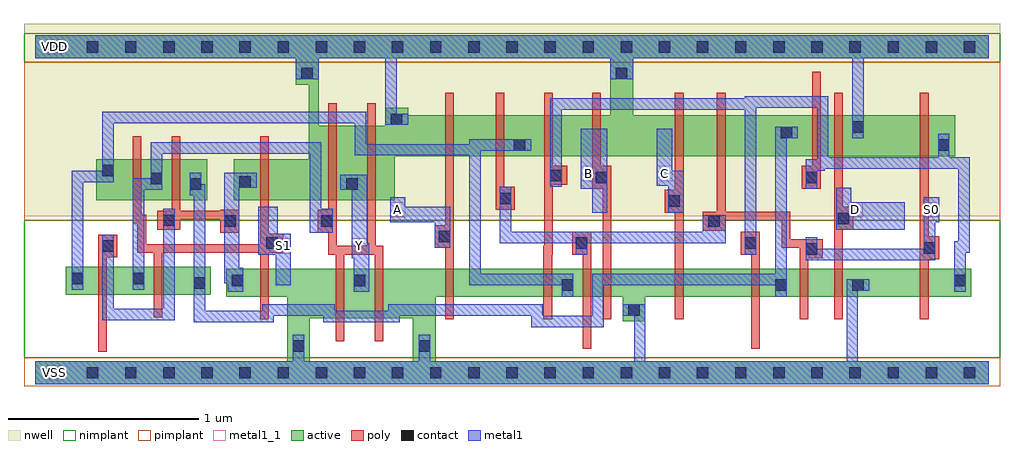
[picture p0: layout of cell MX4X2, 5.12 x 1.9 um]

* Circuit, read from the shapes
.subckt MX4X2 A B C D S0 S1 VDD VSS Y
M1 n1 n2 n3 VSS nfet w=0.145u l=0.045u
M2 n4 S1 n1 VSS nfet w=0.145u l=0.045u
M3 VSS S1 n2 VSS nfet w=0.145u l=0.045u
M4 Y n1 VSS VSS nfet w=0.26u l=0.045u m=2
M5 n5 A VSS VSS nfet w=0.145u l=0.045u
M6 n3 n6 n5 VSS nfet w=0.145u l=0.045u
M7 n7 S0 n3 VSS nfet w=0.145u l=0.045u
M8 VSS B n7 VSS nfet w=0.145u l=0.045u
M9 n8 C VSS VSS nfet w=0.145u l=0.045u
M10 n4 n6 n8 VSS nfet w=0.145u l=0.045u
M11 n9 S0 n4 VSS nfet w=0.145u l=0.045u
M12 VSS D n9 VSS nfet w=0.145u l=0.045u
M13 n6 S0 VSS VSS nfet w=0.145u l=0.045u
M14 n1 S1 n3 VDD pfet w=0.215u l=0.045u
M15 n4 n2 n1 VDD pfet w=0.215u l=0.045u
M16 VDD S1 n2 VDD pfet w=0.215u l=0.045u
M17 Y n1 VDD VDD pfet w=0.39u l=0.045u m=2
M18 n10 A VDD VDD pfet w=0.215u l=0.045u
M19 n3 S0 n10 VDD pfet w=0.215u l=0.045u
M20 n11 n6 n3 VDD pfet w=0.215u l=0.045u
M21 VDD B n11 VDD pfet w=0.215u l=0.045u
M22 n12 C VDD VDD pfet w=0.215u l=0.045u
M23 n4 S0 n12 VDD pfet w=0.215u l=0.045u
M24 n13 n6 n4 VDD pfet w=0.215u l=0.045u
M25 VDD D n13 VDD pfet w=0.215u l=0.045u
M26 n6 S0 VDD VDD pfet w=0.215u l=0.045u
.ends

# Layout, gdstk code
import gdstk
lib = gdstk.Library(unit=1e-6, precision=5e-10)
def R(c, l, rs):  # rectangles x0, y0, x1, y1
    for r in rs: c.add(gdstk.rectangle(r[:2], r[2:], *l))
def A(c, l, x, y, w, h, nx, ny, dx, dy):  # array of equal rectangles
    R(c, l, [(x+i*dx, y+j*dy, x+i*dx+w, y+j*dy+h) for i in range(nx) for j in range(ny)])
def P(c, l, *ps):  # polygons
    for p in ps: c.add(gdstk.Polygon(p, *l))
active = (1, 0)
nwell = (2, 0)
poly = (3, 0)
nimplant = (4, 0)
pimplant = (5, 0)
contact = (6, 0)
metal1 = (7, 0)
metal1_1 = (7, 1)

mx4x2 = lib.new_cell('MX4X2')
R(mx4x2, active, [(0.16,0.41,0.92,0.555), (0.32,0.905,0.9,1.12)])
P(mx4x2, active, [(0,1.77),(5,1.77),(5,1.65),(3.135,1.65),(3.135,1.35),(4.825,1.35),(4.825,1.135),(1.885,1.135),(1.885,0.905),(1.04,0.905),(1.04,1.12),(1.435,1.12),(1.435,1.51),(1.365,1.51),(1.365,1.65),(1.485,1.65),(1.485,1.295),(1.835,1.295),(1.835,1.39),(1.955,1.39),(1.955,1.35),(3.015,1.35),(3.015,1.65),(0,1.65)],
  [(1,0.545),(4.91,0.545),(4.91,0.4),(3.2,0.4),(3.2,0.27),(3.08,0.27),(3.08,0.4),(2.1,0.4),(2.1,0.06),(5,0.06),(5,-0.06),(0,-0.06),(0,0.06),(1.32,0.06),(1.32,0.285),(1.44,0.285),(1.44,0.06),(1.98,0.06),(1.98,0.285),(1.32,0.285),(1.32,0.4),(1,0.4)])
R(mx4x2, nwell, [(-0.06,0.82,5.06,1.83)])
P(mx4x2, poly, [(1.535,1.415),(1.58,1.415),(1.58,0.665),(1.74,0.665),(1.74,1.415),(1.785,1.415),(1.785,0.665),(1.825,0.665),(1.825,0.165),(1.78,0.165),(1.78,0.62),(1.62,0.62),(1.62,0.165),(1.575,0.165),(1.575,0.62),(1.535,0.62),(1.535,0.735),(1.48,0.735),(1.48,0.855),(1.535,0.855)],
  [(0.51,1.24),(0.555,1.24),(0.555,0.83),(0.58,0.83),(0.58,0.675),(1.18,0.675),(1.18,1.24),(1.225,1.24),(1.225,0.73),(1.3,0.73),(1.3,0.63),(1.225,0.63),(1.225,0.28),(1.18,0.28),(1.18,0.63),(0.665,0.63),(0.665,0.29),(0.62,0.29),(0.62,0.63),(0.535,0.63),(0.535,0.785),(0.51,0.785)],
  [(0.715,1.24),(0.76,1.24),(0.76,0.85),(0.97,0.85),(0.97,0.855),(1.07,0.855),(1.07,0.735),(0.97,0.735),(0.97,0.805),(0.76,0.805),(0.76,0.75),(0.64,0.75),(0.64,0.85),(0.715,0.85)],
  [(2.15,1.47),(2.195,1.47),(2.195,0.28),(2.15,0.28),(2.15,0.655),(2.095,0.655),(2.095,0.775),(2.15,0.775)],
  [(2.415,1.47),(2.46,1.47),(2.46,0.975),(2.515,0.975),(2.515,0.855),(2.415,0.855)],
  [(2.67,1.47),(2.715,1.47),(2.715,1.085),(2.79,1.085),(2.79,0.985),(2.715,0.985),(2.715,0.62),(2.71,0.62),(2.71,0.28),(2.665,0.28),(2.665,0.665),(2.67,0.665)],
  [(2.92,1.47),(2.965,1.47),(2.965,1.085),(3.02,1.085),(3.02,0.28),(2.975,0.28),(2.975,0.965),(2.92,0.965)],
  [(3.355,1.47),(3.4,1.47),(3.4,0.28),(3.355,0.28),(3.355,0.84),(3.3,0.84),(3.3,0.96),(3.355,0.96)],
  [(3.575,1.47),(3.62,1.47),(3.62,0.845),(3.96,0.845),(3.96,0.7),(4.13,0.7),(4.13,0.6),(4.055,0.6),(4.055,0.28),(4.01,0.28),(4.01,0.655),(3.915,0.655),(3.915,0.8),(3.62,0.8),(3.62,0.745),(3.5,0.745),(3.5,0.845),(3.575,0.845)],
  [(4.075,1.58),(4.12,1.58),(4.12,0.965),(4.02,0.965),(4.02,1.085),(4.075,1.085)],
  [(4.19,1.47),(4.235,1.47),(4.235,0.87),(4.29,0.87),(4.29,0.75),(4.235,0.75),(4.235,0.28),(4.19,0.28)],
  [(4.64,1.47),(4.685,1.47),(4.685,0.715),(4.74,0.715),(4.74,0.595),(4.685,0.595),(4.685,0.28),(4.64,0.28)],
  [(2.815,0.74),(2.915,0.74),(2.915,0.125),(2.87,0.125),(2.87,0.62),(2.815,0.62)],
  [(3.7,0.74),(3.8,0.74),(3.8,0.125),(3.755,0.125),(3.755,0.62),(3.7,0.62)],
  [(0.33,0.725),(0.43,0.725),(0.43,0.605),(0.375,0.605),(0.375,0.11),(0.33,0.11)])
R(mx4x2, nimplant, [(-0.06,0.08,5.06,0.8), (-0.06,1.63,5.06,1.78)])
R(mx4x2, pimplant, [(-0.06,-0.07,5.06,0.08), (-0.06,0.8,5.06,1.63)])
A(mx4x2, contact, 0.07, -0.03, 0.06, 0.06, 25, 2, 0.2, 1.71)
R(mx4x2, contact, [(1.35,0.11,1.41,0.17), (2.01,0.11,2.07,0.17), (3.11,0.3,3.17,0.36), (2.76,0.43,2.82,0.49), (3.88,0.43,3.94,0.49), (4.285,0.43,4.345,0.49), (0.83,0.44,0.89,0.5), (1.03,0.455,1.09,0.515), (1.67,0.455,1.73,0.515), (4.82,0.455,4.88,0.515), (0.19,0.465,0.25,0.525), (0.51,0.465,0.57,0.525), (4.04,0.62,4.1,0.68), (4.66,0.625,4.72,0.685), (0.35,0.635,0.41,0.695), (1.21,0.65,1.27,0.71), (2.835,0.65,2.895,0.71), (3.72,0.65,3.78,0.71), (2.115,0.685,2.175,0.745), (0.99,0.765,1.05,0.825), (1.5,0.765,1.56,0.825), (3.53,0.765,3.59,0.825), (0.67,0.77,0.73,0.83), (4.21,0.78,4.27,0.84), (3.32,0.87,3.38,0.93), (2.435,0.885,2.495,0.945), (0.81,0.96,0.87,1.02), (1.63,0.96,1.69,1.02), (1.07,0.97,1.13,1.03), (0.605,0.99,0.665,1.05), (2.94,0.995,3,1.055), (4.04,0.995,4.1,1.055), (2.7,1.005,2.76,1.065), (0.35,1.03,0.41,1.09), (2.51,1.165,2.57,1.225), (4.735,1.165,4.795,1.225), (3.91,1.23,3.97,1.29), (4.285,1.26,4.345,1.32), (1.865,1.3,1.925,1.36), (1.395,1.54,1.455,1.6), (3.045,1.54,3.105,1.6)])
P(mx4x2, metal1, [(0,1.77),(5,1.77),(5,1.65),(4.345,1.65),(4.345,1.23),(4.285,1.23),(4.285,1.65),(3.135,1.65),(3.135,1.54),(3.015,1.54),(3.015,1.65),(1.895,1.65),(1.895,1.36),(1.955,1.36),(1.955,1.3),(1.835,1.3),(1.835,1.65),(1.485,1.65),(1.485,1.54),(1.365,1.54),(1.365,1.65),(0,1.65)],
  [(0.35,1.37),(1.735,1.37),(1.735,1.2),(2.275,1.2),(2.275,1.225),(2.6,1.225),(2.6,1.165),(2.335,1.165),(2.335,0.52),(2.82,0.52),(2.82,0.4),(2.76,0.4),(2.76,0.46),(2.275,0.46),(2.275,1.14),(1.675,1.14),(1.675,1.31),(0.41,1.31),(0.41,1),(0.25,1),(0.25,0.435),(0.19,0.435),(0.19,1.06),(0.35,1.06)],
  [(3.72,1.45),(4.16,1.45),(4.16,1.13),(4.735,1.13),(4.735,1.255),(4.795,1.255),(4.795,1.13),(4.9,1.13),(4.9,0.63),(4.88,0.63),(4.88,0.425),(4.82,0.425),(4.82,0.69),(4.84,0.69),(4.84,1.07),(4.14,1.07),(4.14,1.06),(4.1,1.06),(4.1,0.965),(4.04,0.965),(4.04,1.12),(4.1,1.12),(4.1,1.39),(3.78,1.39),(3.78,0.62),(3.72,0.62),(3.72,1.38),(2.76,1.38),(2.76,0.975),(2.7,0.975),(2.7,1.44),(3.72,1.44)],
  [(0.605,1.21),(1.5,1.21),(1.5,0.86),(1.56,0.86),(1.56,0.735),(1.44,0.735),(1.44,1.15),(0.665,1.15),(0.665,0.96),(0.57,0.96),(0.57,0.435),(0.51,0.435),(0.51,1.02),(0.605,1.02)],
  [(3.88,1.29),(4,1.29),(4,1.23),(3.94,1.23),(3.94,0.4),(3.88,0.4),(3.88,0.46),(2.98,0.46),(2.98,0.24),(2.6,0.24),(2.6,0.3),(1.91,0.3),(1.91,0.265),(1.51,0.265),(1.51,0.3),(1.25,0.3),(1.25,0.265),(0.83,0.265),(0.83,0.93),(0.81,0.93),(0.81,1.05),(0.87,1.05),(0.87,0.99),(0.89,0.99),(0.89,0.325),(1.19,0.325),(1.19,0.36),(1.57,0.36),(1.57,0.325),(1.85,0.325),(1.85,0.36),(2.66,0.36),(2.66,0.3),(2.92,0.3),(2.92,0.52),(3.88,0.52)],
  [(0.35,0.725),(0.41,0.725),(0.41,0.335),(0.67,0.335),(0.67,0.86),(0.73,0.86),(0.73,0.275),(0.35,0.275)],
  [(0.99,1.05),(1.16,1.05),(1.16,0.97),(1.07,0.97),(1.07,0.55),(1.09,0.55),(1.09,0.425),(1.01,0.425),(1.01,0.47),(0.99,0.47)],
  [(1.6,1.04),(1.74,1.04),(1.74,0.68),(1.75,0.68),(1.75,0.425),(1.67,0.425),(1.67,0.6),(1.66,0.6),(1.66,0.96),(1.6,0.96)],
  [(1.17,0.87),(1.27,0.87),(1.27,0.73),(1.34,0.73),(1.34,0.46),(1.26,0.46),(1.26,0.62),(1.17,0.62)],
  [(1.86,0.92),(1.94,0.92),(1.94,0.87),(2.175,0.87),(2.175,0.655),(2.095,0.655),(2.095,0.79),(1.86,0.79)],
  [(2.435,0.975),(2.495,0.975),(2.495,0.74),(3.5,0.74),(3.5,0.825),(3.62,0.825),(3.62,0.68),(2.895,0.68),(2.895,0.62),(2.835,0.62),(2.835,0.68),(2.435,0.68)],
  [(2.86,1.28),(3,1.28),(3,0.84),(2.92,0.84),(2.92,0.965),(2.86,0.965)],
  [(3.26,1.28),(3.34,1.28),(3.34,1.06),(3.4,1.06),(3.4,0.84),(3.32,0.84),(3.32,0.98),(3.26,0.98)],
  [(4.2,0.97),(4.28,0.97),(4.28,0.895),(4.56,0.895),(4.56,0.75),(4.2,0.75)],
  [(4.66,0.92),(4.74,0.92),(4.74,0.79),(4.72,0.79),(4.72,0.59),(4.04,0.59),(4.04,0.71),(4.1,0.71),(4.1,0.65),(4.66,0.65)],
  [(4.255,0.49),(4.375,0.49),(4.375,0.43),(4.315,0.43),(4.315,0.06),(5,0.06),(5,-0.06),(0,-0.06),(0,0.06),(1.35,0.06),(1.35,0.2),(1.41,0.2),(1.41,0.06),(2.01,0.06),(2.01,0.2),(2.07,0.2),(2.07,0.06),(3.14,0.06),(3.14,0.3),(3.08,0.3),(3.08,0.36),(3.2,0.36),(3.2,0.06),(4.255,0.06)])
R(mx4x2, metal1_1, [(0.06,-0.04,0.14,0.04), (1.26,0.625,1.34,0.705), (1.66,0.625,1.74,0.705), (1.86,0.815,1.94,0.895), (4.26,0.815,4.34,0.895), (4.66,0.815,4.74,0.895), (2.86,1.005,2.94,1.085), (3.26,1.005,3.34,1.085), (0.06,1.67,0.14,1.75)])
mx4x2.add(gdstk.Label('Y', (1.7,0.665), layer=7, texttype=1))
mx4x2.add(gdstk.Label('S0', (4.7,0.855), layer=7, texttype=1))
mx4x2.add(gdstk.Label('D', (4.3,0.855), layer=7, texttype=1))
mx4x2.add(gdstk.Label('C', (3.3,1.045), layer=7, texttype=1))
mx4x2.add(gdstk.Label('B', (2.9,1.045), layer=7, texttype=1))
mx4x2.add(gdstk.Label('A', (1.9,0.855), layer=7, texttype=1))
mx4x2.add(gdstk.Label('S1', (1.3,0.665), layer=7, texttype=1))
mx4x2.add(gdstk.Label('VDD', (0.1,1.71), layer=7, texttype=1))
mx4x2.add(gdstk.Label('VSS', (0.1,0), layer=7, texttype=1))
mx4x2.add(gdstk.Label('MX4X2', (0,0), layer=63, texttype=0))

lib.write_gds('MX4X2.gds')
